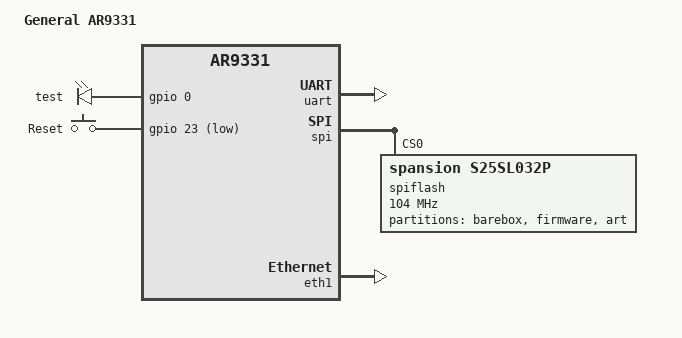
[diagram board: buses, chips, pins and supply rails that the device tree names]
// SPDX-License-Identifier: GPL-2.0
/dts-v1/;

#include <dt-bindings/gpio/gpio.h>
#include <dt-bindings/input/input.h>

#include <mips/qca/ar9331.dtsi>
#include "ar9331.dtsi"

/ {
    model = "General AR9331";
    compatible = "general,ar9331";

    aliases {
        serial0 = &uart;
        spiflash = &spiflash;
    };

    leds {
        compatible = "gpio-leds";

        test {
            label = "test";
            gpios = <&gpio 0 GPIO_ACTIVE_HIGH>;
            default-state = "off";
        };
    };

    gpio-keys {
        compatible = "gpio-keys";
        #address-cells = <1>;
        #size-cells = <0>;

        reset {
            label = "Reset";
            linux,code = <KEY_STOP>;
            gpios = <&gpio 23 GPIO_ACTIVE_LOW>;
        };
    };
};

&uart {
    status = "okay";
};

&gpio {
    status = "okay";
};

&spi {
    num-chipselects = <1>;
    status = "okay";

    /* Spansion S25FL032PIF SPI flash */
    spiflash: s25sl032p@0 {
        #address-cells = <1>;
        #size-cells = <1>;
        compatible = "spansion,s25sl032p", "jedec,spi-nor";
        spi-max-frequency = <104000000>;
        reg = <0>;
    };
};

&spiflash {
    partition@0 {
        label = "barebox";
        reg = <0 0x20000>;
    };

    partition@20000 {
        label = "firmware";
        reg = <0x20000 0x7d0000>;
    };

    partition@7f0000 {
        label = "art";
        reg = <0x7f0000 0x10000>;
    };
};

&eth1 {
    status = "okay";
};
